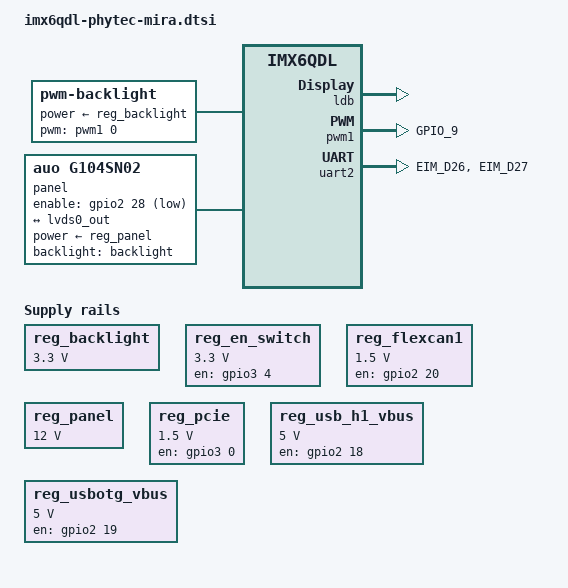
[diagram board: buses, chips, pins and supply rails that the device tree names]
// SPDX-License-Identifier: (GPL-2.0+ OR MIT)
/*
 * Copyright (C) 2018 PHYTEC Messtechnik GmbH
 * Author: Christian Hemp <c.hemp@phytec.de>
 */


/ {
	aliases {
		rtc0 = &i2c_rtc;
	};

	backlight: backlight {
		compatible = "pwm-backlight";
		brightness-levels = <0 4 8 16 32 64 128 255>;
		default-brightness-level = <7>;
		power-supply = <&reg_backlight>;
		pwms = <&pwm1 0 5000000>;
		status = "okay";
	};

	gpio_leds: leds {
		compatible = "gpio-leds";
		pinctrl-names = "default";
		pinctrl-0 = <&pinctrl_gpioleds>;
		status = "disabled";

		led-red {
			label = "phyboard-mira:red";
			gpios = <&gpio5 22 GPIO_ACTIVE_HIGH>;
		};

		led-green {
			label = "phyboard-mira:green";
			gpios = <&gpio5 23 GPIO_ACTIVE_HIGH>;
		};

		led-blue {
			label = "phyboard-mira:blue";
			gpios = <&gpio5 24 GPIO_ACTIVE_HIGH>;
			linux,default-trigger = "mmc0";
		};
	};

	reg_backlight: regulator-backlight {
		compatible = "regulator-fixed";
		regulator-name = "backlight_3v3";
		regulator-min-microvolt = <3300000>;
		regulator-max-microvolt = <3300000>;
		regulator-always-on;
	};

	reg_en_switch: regulator-en-switch {
		compatible = "regulator-fixed";
		pinctrl-names = "default";
		pinctrl-0 = <&pinctrl_en_switch>;
		regulator-name = "Enable Switch";
		regulator-min-microvolt = <3300000>;
		regulator-max-microvolt = <3300000>;
		enable-active-high;
		gpio = <&gpio3 4 GPIO_ACTIVE_HIGH>;
		regulator-always-on;
	};

	reg_flexcan1: regulator-flexcan1 {
		compatible = "regulator-fixed";
		pinctrl-names = "default";
		pinctrl-0 = <&pinctrl_flexcan1_en>;
		regulator-name = "flexcan1-reg";
		regulator-min-microvolt = <1500000>;
		regulator-max-microvolt = <1500000>;
		gpio = <&gpio2 20 GPIO_ACTIVE_HIGH>;
		enable-active-high;
	};

	reg_panel: regulator-panel {
		compatible = "regulator-fixed";
		regulator-name = "panel-power-supply";
		regulator-min-microvolt = <12000000>;
		regulator-max-microvolt = <12000000>;
		regulator-always-on;
	};

	reg_pcie: regulator-pcie {
		compatible = "regulator-fixed";
		pinctrl-names = "default";
		pinctrl-0 = <&pinctrl_pcie_reg>;
		regulator-name = "mPCIe_1V5";
		regulator-min-microvolt = <1500000>;
		regulator-max-microvolt = <1500000>;
		gpio = <&gpio3 0 GPIO_ACTIVE_HIGH>;
		enable-active-high;
	};

	reg_usb_h1_vbus: usb-h1-vbus {
		compatible = "regulator-fixed";
		pinctrl-names = "default";
		pinctrl-0 = <&pinctrl_usbh1_vbus>;
		regulator-name = "usb_h1_vbus";
		regulator-min-microvolt = <5000000>;
		regulator-max-microvolt = <5000000>;
		gpio = <&gpio2 18 GPIO_ACTIVE_HIGH>;
		enable-active-high;
	};

	reg_usbotg_vbus: usbotg-vbus {
		compatible = "regulator-fixed";
		pinctrl-names = "default";
		pinctrl-0 = <&pinctrl_usbotg_vbus>;
		regulator-name = "usb_otg_vbus";
		regulator-min-microvolt = <5000000>;
		regulator-max-microvolt = <5000000>;
		gpio = <&gpio2 19 GPIO_ACTIVE_HIGH>;
		enable-active-high;
	};

	panel {
		compatible = "auo,g104sn02";
		pinctrl-names = "default";
		pinctrl-0 = <&pinctrl_panel_en>;
		power-supply = <&reg_panel>;
		enable-gpios = <&gpio2 28 GPIO_ACTIVE_LOW>;
		backlight = <&backlight>;

		port {
			panel_in: endpoint {
				remote-endpoint = <&lvds0_out>;
			};
		};
	};
};

&can1 {
	pinctrl-names = "default";
	pinctrl-0 = <&pinctrl_flexcan1>;
	xceiver-supply = <&reg_flexcan1>;
	status = "disabled";
};

&hdmi {
	pinctrl-names = "default";
	pinctrl-0 = <&pinctrl_hdmicec>;
	ddc-i2c-bus = <&i2c2>;
	status = "disabled";
};

&i2c1 {
	pinctrl-names = "default", "gpio";
	pinctrl-0 = <&pinctrl_i2c1>;
	pinctrl-1 = <&pinctrl_i2c1_gpio>;
	scl-gpios = <&gpio3 21 (GPIO_ACTIVE_HIGH | GPIO_OPEN_DRAIN)>;
	sda-gpios = <&gpio3 28 (GPIO_ACTIVE_HIGH | GPIO_OPEN_DRAIN)>;
	clock-frequency = <400000>;
	status = "disabled";

	stmpe: touchctrl@44 {
		compatible = "st,stmpe811";
		pinctrl-names = "default";
		pinctrl-0 = <&pinctrl_stmpe>;
		reg = <0x44>;
		interrupt-parent = <&gpio7>;
		interrupts = <12 IRQ_TYPE_NONE>;
		status = "disabled";

		stmpe_touchscreen {
			compatible = "st,stmpe-ts";
			st,sample-time = <4>;
			st,mod-12b = <1>;
			st,ref-sel = <0>;
			st,adc-freq = <1>;
			st,ave-ctrl = <1>;
			st,touch-det-delay = <2>;
			st,settling = <2>;
			st,fraction-z = <7>;
			st,i-drive = <1>;
		};
	};

	i2c_rtc: rtc@68 {
		compatible = "microcrystal,rv4162";
		pinctrl-names = "default";
		pinctrl-0 = <&pinctrl_rtc_int>;
		reg = <0x68>;
		interrupt-parent = <&gpio7>;
		interrupts = <8 IRQ_TYPE_LEVEL_HIGH>;
		status = "disabled";
	};
};

&i2c2 {
	pinctrl-names = "default", "gpio";
	pinctrl-0 = <&pinctrl_i2c2>;
	pinctrl-1 = <&pinctrl_i2c2_gpio>;
	scl-gpios = <&gpio4 12 (GPIO_ACTIVE_HIGH | GPIO_OPEN_DRAIN)>;
	sda-gpios = <&gpio4 13 (GPIO_ACTIVE_HIGH | GPIO_OPEN_DRAIN)>;
	clock-frequency = <100000>;
	status = "disabled";
};

&ldb {
	status = "okay";

	lvds-channel@0 {
		fsl,data-mapping = "spwg";
		fsl,data-width = <24>;
		status = "disabled";

		port@4 {
			reg = <4>;

			lvds0_out: endpoint {
				remote-endpoint = <&panel_in>;
			};
		};
	};
};

&pcie {
	pinctrl-names = "default";
	pinctrl-0 = <&pinctrl_pcie>;
	reset-gpio = <&gpio2 25 GPIO_ACTIVE_LOW>;
	vpcie-supply = <&reg_pcie>;
	status = "disabled";
};

&pwm1 {
	#pwm-cells = <2>;
	pinctrl-names = "default";
	pinctrl-0 = <&pinctrl_pwm1>;
	status = "okay";
};

&uart2 {
	pinctrl-names = "default";
	pinctrl-0 = <&pinctrl_uart2>;
	status = "okay";
};

&uart3 {
	pinctrl-names = "default";
	pinctrl-0 = <&pinctrl_uart3>;
	uart-has-rtscts;
	status = "disabled";
};

&usbh1 {
	vbus-supply = <&reg_usb_h1_vbus>;
	disable-over-current;
	status = "disabled";
};

&usbotg {
	pinctrl-names = "default";
	pinctrl-0 = <&pinctrl_usbotg>;
	vbus-supply = <&reg_usbotg_vbus>;
	disable-over-current;
	status = "disabled";
};

&usdhc1 {
	pinctrl-names = "default";
	pinctrl-0 = <&pinctrl_usdhc1>;
	cd-gpios = <&gpio6 31 GPIO_ACTIVE_LOW>;
	no-1-8-v;
	disable-wp;
	status = "disabled";
};

&iomuxc {
	pinctrl_panel_en: panelen1grp {
		fsl,pins = <
			MX6QDL_PAD_EIM_EB0__GPIO2_IO28		0xb0b1
		>;
	};

	pinctrl_en_switch: enswitchgrp {
		fsl,pins = <
			MX6QDL_PAD_EIM_DA4__GPIO3_IO04		0xb0b1
		>;
	};

	pinctrl_flexcan1: flexcan1grp {
		fsl,pins = <
			MX6QDL_PAD_GPIO_7__FLEXCAN1_TX		0x1b0b0
			MX6QDL_PAD_GPIO_8__FLEXCAN1_RX		0x1b0b0
		>;
	};

	pinctrl_flexcan1_en: flexcan1engrp {
		fsl,pins = <
			MX6QDL_PAD_EIM_A18__GPIO2_IO20		0xb0b1
		>;
	};

	pinctrl_gpioleds: gpioledsgrp {
		fsl,pins = <
			MX6QDL_PAD_CSI0_DAT4__GPIO5_IO22	0x1b0b0
			MX6QDL_PAD_CSI0_DAT5__GPIO5_IO23	0x1b0b0
			MX6QDL_PAD_CSI0_DAT6__GPIO5_IO24	0x1b0b0
		>;
	};

	pinctrl_hdmicec: hdmicecgrp {
		fsl,pins = <
			MX6QDL_PAD_KEY_ROW2__HDMI_TX_CEC_LINE	0x1f8b0
		>;
	};

	pinctrl_i2c1: i2c1grp {
		fsl,pins = <
			MX6QDL_PAD_EIM_D21__I2C1_SCL		0x4001b8b1
			MX6QDL_PAD_EIM_D28__I2C1_SDA		0x4001b8b1
		>;
	};

	pinctrl_i2c1_gpio: i2c1gpiogrp {
		fsl,pins = <
			MX6QDL_PAD_EIM_D21__GPIO3_IO21		0x4001b8b1
			MX6QDL_PAD_EIM_D28__GPIO3_IO28		0x4001b8b1
		>;
	};

	pinctrl_i2c2: i2c2grp {
		fsl,pins = <
			MX6QDL_PAD_KEY_ROW3__I2C2_SDA		0x4001b8b1
			MX6QDL_PAD_KEY_COL3__I2C2_SCL		0x4001b8b1
		>;
	};

	pinctrl_i2c2_gpio: i2c2gpiogrp {
		fsl,pins = <
			MX6QDL_PAD_KEY_ROW3__GPIO4_IO13		0x4001b8b1
			MX6QDL_PAD_KEY_COL3__GPIO4_IO12		0x4001b8b1
		>;
	};

	pinctrl_pcie: pciegrp {
		fsl,pins = <
			MX6QDL_PAD_EIM_OE__GPIO2_IO25		0xb0b1
		>;
	};

	pinctrl_pcie_reg: pciereggrp {
		fsl,pins = <
			MX6QDL_PAD_EIM_DA0__GPIO3_IO00		0xb0b1
		>;
	};

	pinctrl_pwm1: pwm1grp {
		fsl,pins = <
			MX6QDL_PAD_GPIO_9__PWM1_OUT		0x1b0b1
		>;
	};

	pinctrl_rtc_int: rtcintgrp {
		fsl,pins = <
			MX6QDL_PAD_SD3_RST__GPIO7_IO08		0x1b0b0
		>;
	};

	pinctrl_stmpe: stmpegrp {
		fsl,pins = <
			MX6QDL_PAD_GPIO_17__GPIO7_IO12		0x1b0b0
		>;
	};

	pinctrl_uart2: uart2grp {
		fsl,pins = <
			MX6QDL_PAD_EIM_D26__UART2_TX_DATA	0x1b0b1
			MX6QDL_PAD_EIM_D27__UART2_RX_DATA	0x1b0b1
		>;
	};

	pinctrl_uart3: uart3grp {
		fsl,pins = <
			MX6QDL_PAD_EIM_EB3__UART3_CTS_B		0x1b0b1
			MX6QDL_PAD_EIM_D23__UART3_RTS_B		0x1b0b1
			MX6QDL_PAD_EIM_D24__UART3_TX_DATA	0x1b0b1
			MX6QDL_PAD_EIM_D25__UART3_RX_DATA	0x1b0b1
		>;
	};

	pinctrl_usbh1_vbus: usbh1vbusgrp {
		fsl,pins = <
			MX6QDL_PAD_EIM_A20__GPIO2_IO18		0xb0b1
		>;
	};

	pinctrl_usbotg: usbotggrp {
		fsl,pins = <
			MX6QDL_PAD_GPIO_1__USB_OTG_ID		0x17059
		>;
	};

	pinctrl_usbotg_vbus: usbotgvbusgrp {
		fsl,pins = <
			MX6QDL_PAD_EIM_A19__GPIO2_IO19		0xb0b1
		>;
	};

	pinctrl_usdhc1: usdhc1grp {
		fsl,pins = <
			MX6QDL_PAD_SD1_CMD__SD1_CMD		0x170f9
			MX6QDL_PAD_SD1_CLK__SD1_CLK		0x100f9
			MX6QDL_PAD_SD1_DAT0__SD1_DATA0		0x170f9
			MX6QDL_PAD_SD1_DAT1__SD1_DATA1		0x170f9
			MX6QDL_PAD_SD1_DAT2__SD1_DATA2		0x170f9
			MX6QDL_PAD_SD1_DAT3__SD1_DATA3		0x170f9
			MX6QDL_PAD_EIM_BCLK__GPIO6_IO31		0xb0b1  /* CD */
		>;
	};
};
